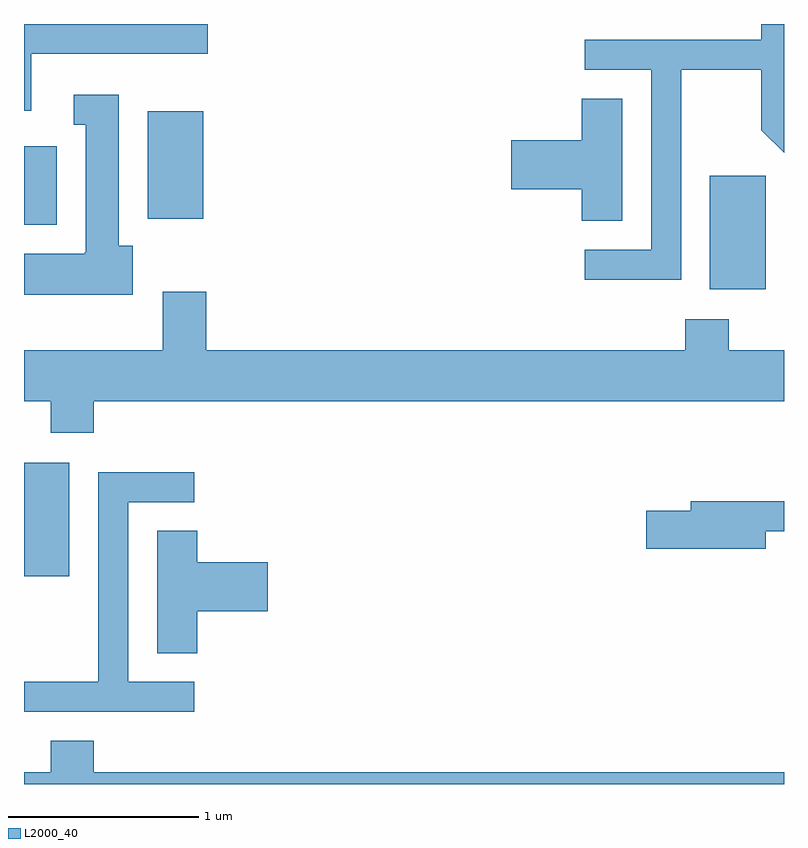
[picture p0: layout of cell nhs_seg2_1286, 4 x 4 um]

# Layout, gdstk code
import gdstk
lib = gdstk.Library(unit=1e-6, precision=1e-09)
def R(c, l, rs):  # rectangles x0, y0, x1, y1
    for r in rs: c.add(gdstk.rectangle(r[:2], r[2:], *l))
def P(c, l, *ps):  # polygons
    for p in ps: c.add(gdstk.Polygon(p, *l))
L2000_40 = (2000, 40)

nhs_seg2_1286 = lib.new_cell('nhs_seg2_1286')
R(nhs_seg2_1286, L2000_40, [(221.611,1102.896,221.849,1103.494), (225.221,1104.406,225.514,1105.004), (221.611,1104.746,221.784,1105.159), (222.261,1104.776,222.554,1105.344)])
P(nhs_seg2_1286, L2000_40, [(221.649,1105.646),(222.578,1105.646),(222.578,1105.802),(221.611,1105.802),(221.611,1105.346),(221.649,1105.346)],
  [(225.069,1105.561),(225.491,1105.561),(225.491,1105.244),(225.611,1105.124),(225.611,1105.802),(225.491,1105.802),(225.491,1105.719),(224.563,1105.719),(224.563,1105.561),(224.911,1105.561),(224.911,1104.614),(224.563,1104.614),(224.563,1104.456),(225.069,1104.456)],
  [(222.184,1104.634),(222.109,1104.634),(222.109,1105.429),(221.873,1105.429),(221.873,1105.271),(221.936,1105.271),(221.936,1104.6),(221.93,1104.6),(221.93,1104.594),(221.611,1104.594),(221.611,1104.376),(222.184,1104.376)],
  [(224.759,1105.409),(224.546,1105.409),(224.546,1105.189),(224.176,1105.189),(224.176,1104.931),(224.546,1104.931),(224.546,1104.766),(224.759,1104.766)],
  [(221.979,1103.816),(225.611,1103.816),(225.611,1104.084),(225.319,1104.084),(225.319,1104.249),(225.091,1104.249),(225.091,1104.084),(222.569,1104.084),(222.569,1104.394),(222.341,1104.394),(222.341,1104.084),(221.611,1104.084),(221.611,1103.816),(221.751,1103.816),(221.751,1103.651),(221.979,1103.651)],
  [(222.508,1102.339),(222.159,1102.339),(222.159,1103.286),(222.508,1103.286),(222.508,1103.444),(222.001,1103.444),(222.001,1102.339),(221.611,1102.339),(221.611,1102.181),(222.508,1102.181)],
  [(225.514,1103.131),(225.611,1103.131),(225.611,1103.289),(225.121,1103.289),(225.121,1103.239),(224.886,1103.239),(224.886,1103.041),(225.514,1103.041)],
  [(222.524,1102.711),(222.894,1102.711),(222.894,1102.969),(222.524,1102.969),(222.524,1103.134),(222.311,1103.134),(222.311,1102.491),(222.524,1102.491)],
  [(225.611,1101.864),(221.979,1101.864),(221.979,1102.029),(221.751,1102.029),(221.751,1101.864),(221.611,1101.864),(221.611,1101.802),(225.611,1101.802)])

lib.write_gds('nhs_seg2_1286.gds')
